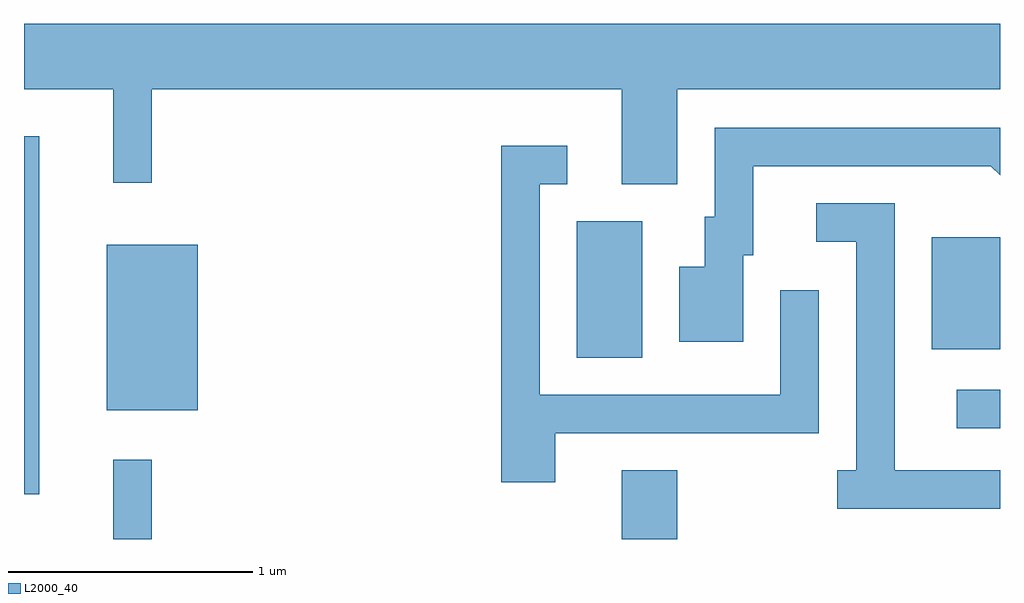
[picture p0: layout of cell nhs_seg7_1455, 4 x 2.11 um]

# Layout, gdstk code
import gdstk
lib = gdstk.Library(unit=1e-6, precision=1e-09)
def R(c, l, rs):  # rectangles x0, y0, x1, y1
    for r in rs: c.add(gdstk.rectangle(r[:2], r[2:], *l))
def P(c, l, *ps):  # polygons
    for p in ps: c.add(gdstk.Polygon(p, *l))
L2000_40 = (2000, 40)

nhs_seg7_1455 = lib.new_cell('nhs_seg7_1455')
R(nhs_seg7_1455, L2000_40, [(229.976,1710.252,230.134,1710.578), (232.061,1710.252,232.289,1710.534), (229.611,1710.436,229.674,1711.903), (233.433,1710.706,233.611,1710.864), (229.951,1710.781,230.324,1711.459), (231.876,1710.996,232.144,1711.554), (233.331,1711.031,233.611,1711.489)])
P(nhs_seg7_1455, L2000_40, [(232.289,1712.096),(233.611,1712.096),(233.611,1712.364),(229.611,1712.364),(229.611,1712.096),(229.976,1712.096),(229.976,1711.713),(230.134,1711.713),(230.134,1712.096),(232.061,1712.096),(232.061,1711.706),(232.289,1711.706)],
  [(232.559,1711.416),(232.599,1711.416),(232.599,1711.781),(233.574,1711.781),(233.611,1711.744),(233.611,1711.939),(232.441,1711.939),(232.441,1711.574),(232.401,1711.574),(232.401,1711.369),(232.296,1711.369),(232.296,1711.061),(232.559,1711.061)],
  [(231.789,1710.686),(232.869,1710.686),(232.869,1711.273),(232.711,1711.273),(232.711,1710.844),(231.724,1710.844),(231.724,1711.706),(231.838,1711.706),(231.838,1711.864),(231.566,1711.864),(231.566,1710.486),(231.789,1710.486)],
  [(233.611,1710.534),(233.179,1710.534),(233.179,1711.629),(232.858,1711.629),(232.858,1711.471),(233.021,1711.471),(233.021,1710.534),(232.943,1710.534),(232.943,1710.376),(233.611,1710.376)])

lib.write_gds('nhs_seg7_1455.gds')
